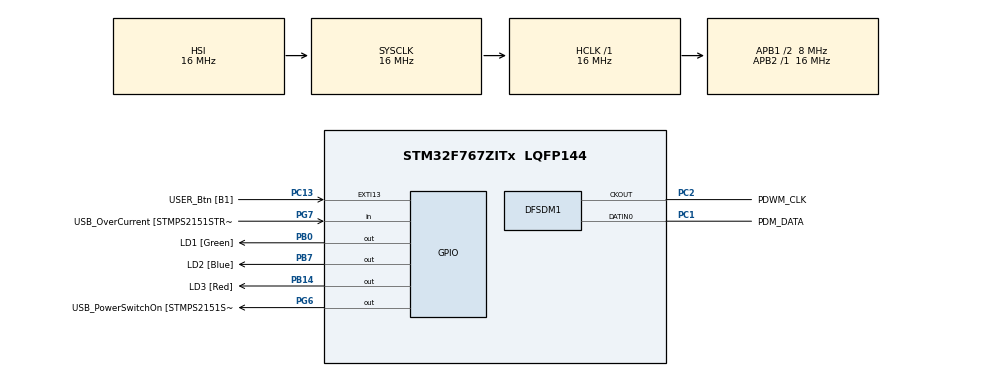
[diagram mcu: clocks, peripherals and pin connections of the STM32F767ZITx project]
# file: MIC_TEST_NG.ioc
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DFSDM1.Divider=8
DFSDM1.DmaMode_reg_FIL0=ENABLE
DFSDM1.FastMode_reg_FIL0=ENABLE
DFSDM1.Filter_regChannel_FIL0=DFSDM_CHANNEL_0
DFSDM1.Filter_regContinuousMode_FIL0=DFSDM_CONTINUOUS_CONV_ON
DFSDM1.Fosr_FIL0=125
DFSDM1.RightBitShift_CH0=0x02
DFSDM1.SincOrder_FIL0=DFSDM_FILTER_SINC3_ORDER
DFSDM1.Type_spi_CH0=DFSDM_CHANNEL_SPI_FALLING
Dma.DFSDM1_FLT0.0.Direction=DMA_PERIPH_TO_MEMORY
Dma.DFSDM1_FLT0.0.FIFOMode=DMA_FIFOMODE_DISABLE
Dma.DFSDM1_FLT0.0.Instance=DMA2_Stream0
Dma.DFSDM1_FLT0.0.MemDataAlignment=DMA_MDATAALIGN_WORD
Dma.DFSDM1_FLT0.0.MemInc=DMA_MINC_ENABLE
Dma.DFSDM1_FLT0.0.Mode=DMA_CIRCULAR
Dma.DFSDM1_FLT0.0.PeriphDataAlignment=DMA_PDATAALIGN_WORD
Dma.DFSDM1_FLT0.0.PeriphInc=DMA_PINC_DISABLE
Dma.DFSDM1_FLT0.0.Priority=DMA_PRIORITY_HIGH
Dma.Request0=DFSDM1_FLT0
Mcu.Family=STM32F7
Mcu.Name=STM32F767ZITx
Mcu.Package=LQFP144
NVIC.DMA2_Stream0_IRQn=true\:0\:0\:false\:false\:true\:false\:true\:true
NVIC.EXTI15_10_IRQn=true\:0\:0\:false\:false\:true\:true\:true\:true
NVIC.PriorityGroup=NVIC_PRIORITYGROUP_4
PA1.GPIO_Label=RMII_REF_CLK [LAN8742A-CZ-TR_REFCLK0]
PA1.Signal=ETH_REF_CLK
PA10.GPIO_Label=USB_ID
PA10.Signal=USB_OTG_FS_ID
PA11.GPIO_Label=USB_DM
PA11.Signal=USB_OTG_FS_DM
PA12.GPIO_Label=USB_DP
PA12.Signal=USB_OTG_FS_DP
PA13.GPIO_Label=TMS
PA13.Signal=SYS_JTMS-SWDIO
PA14.GPIO_Label=TCK
PA14.Signal=SYS_JTCK-SWCLK
PA2.GPIO_Label=RMII_MDIO [LAN8742A-CZ-TR_MDIO]
PA2.Signal=ETH_MDIO
PA7.GPIO_Label=RMII_CRS_DV [LAN8742A-CZ-TR_CRS_DV]
PA7.Signal=ETH_CRS_DV
PA8.GPIO_Label=USB_SOF [TP1]
PA8.Signal=USB_OTG_FS_SOF
PA9.GPIO_Label=USB_VBUS
PA9.Signal=USB_OTG_FS_VBUS
PB0.GPIO_Label=LD1 [Green]
PB0.Signal=GPIO_Output
PB13.GPIO_Label=RMII_TXD1 [LAN8742A-CZ-TR_TXD1]
PB13.Signal=ETH_TXD1
PB14.GPIO_Label=LD3 [Red]
PB14.Signal=GPIO_Output
PB3.GPIO_Label=SW0
PB3.Signal=SYS_JTDO-SWO
PB7.GPIO_Label=LD2 [Blue]
PB7.Signal=GPIO_Output
PC1.GPIO_Label=PDM_DATA
PC1.Signal=S_DATAIN0DFSDM1
PC13.GPIO_Label=USER_Btn [B1]
PC13.Signal=GPXTI13
PC14/OSC32_IN.Signal=RCC_OSC32_IN
PC15/OSC32_OUT.Signal=RCC_OSC32_OUT
PC2.GPIO_Label=PDWM_CLK
PC2.GPIO_Speed=GPIO_SPEED_FREQ_VERY_HIGH
PC2.Signal=S_CKOUTDFSDM1
PC4.GPIO_Label=RMII_RXD0 [LAN8742A-CZ-TR_RXD0]
PC4.Signal=ETH_RXD0
PC5.GPIO_Label=RMII_RXD1 [LAN8742A-CZ-TR_RXD1]
PC5.Signal=ETH_RXD1
PD8.GPIO_Label=STLK_RX [STM32F103CBT6_PA3]
PD8.Signal=USART3_TX
PD9.GPIO_Label=STLK_TX [STM32F103CBT6_PA2]
PD9.Signal=USART3_RX
PG11.GPIO_Label=RMII_TX_EN [LAN8742A-CZ-TR_TXEN]
PG11.Signal=ETH_TX_EN
PG13.GPIO_Label=RMII_TXD0 [LAN8742A-CZ-TR_TXD0]
PG13.Signal=ETH_TXD0
PG6.GPIO_Label=USB_PowerSwitchOn [STMPS2151STR_EN]
PG6.Signal=GPIO_Output
PG7.GPIO_Label=USB_OverCurrent [STMPS2151STR_FAULT]
PG7.Signal=GPIO_Input
PH0/OSC_IN.GPIO_Label=MCO [STM32F103CBT6_PA8]
PH0/OSC_IN.Mode=HSE-External-Oscillator
PH0/OSC_IN.Signal=RCC_OSC_IN
PH1/OSC_OUT.Mode=HSE-External-Oscillator
PH1/OSC_OUT.Signal=RCC_OSC_OUT
ProjectManager.HeapSize=0x200
ProjectManager.StackSize=0x400
ProjectManager.TargetToolchain=STM32CubeIDE
RCC.48MHZClocksFreq_Value=24000000
RCC.AHBFreq_Value=16000000
RCC.APB1CLKDivider=RCC_HCLK_DIV2
RCC.APB1Freq_Value=8000000
RCC.APB1TimFreq_Value=16000000
RCC.APB2Freq_Value=16000000
RCC.APB2TimFreq_Value=16000000
RCC.CortexFreq_Value=16000000
RCC.HCLKFreq_Value=16000000
RCC.HSE_VALUE=8000000
RCC.HSI_VALUE=16000000
RCC.LSE_VALUE=32768
RCC.PLLM=4
RCC.PLLMUL=RCC_PLL_MUL9
RCC.PLLN=96
RCC.PLLQ=4
RCC.PLLSourceVirtual=RCC_PLLSOURCE_HSE
RCC.PRESCALERUSB=RCC_USBCLKSOURCE_PLL_DIV1_5
RCC.SYSCLKFreq_VALUE=16000000
RCC.SYSCLKSourceVirtual=RCC_SYSCLKSOURCE_PLLCLK
RCC.USBFreq_Value=48000000
RCC.VCOOutputFreq_Value=192000000
SH.S_CKOUTDFSDM1.0=DFSDM1_CKOUT,PDM_SPI_input_from_ch0_and_internal_clock
SH.S_CKOUTDFSDM1.1=DFSDM1_CKOUT,CKOUT
SH.S_DATAIN0DFSDM1.0=DFSDM1_DATIN0,PDM_SPI_input_from_ch0_and_internal_clock
board=NUCLEO-F767ZI

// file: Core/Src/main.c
/* USER CODE BEGIN Header */
/**
  ******************************************************************************
  * @file               : main.c
  * @brief              : Main program body
  ******************************************************************************
  * @attention
  *
  * Copyright (c) 2025 STMicroelectronics.
  * All rights reserved.
  *
  * This software is licensed under terms that can be found in the LICENSE file
  * in the root directory of this software component.
  * If no LICENSE file comes with this software, it is provided AS-IS.
  *
  ******************************************************************************
  */
/* USER CODE END Header */
#include "main.h"

/* USER CODE BEGIN Includes */
// #include "usbd_cdc_if.h" // USB CDCを廃止
#include <stdio.h>
/* USER CODE END Includes */

/* USER CODE BEGIN PTD */
// SWState_t は直接フラグで管理するため、必須ではなくなりました。
/* USER CODE END PTD */

/* USER CODE BEGIN PD */
#define AUDIO_SAMPLING_FREQUENCY 16000
#define AUDIO_BUFFER_SIZE (AUDIO_SAMPLING_FREQUENCY * 1) // 1秒分のバッファサイズ
#define SOUND_AVOID_DELAY_MS 150
#define PRINT_DATA_COUNT 8000 // 表示する先頭データの数
#define PRINT_DATA_OFFSET 0 // 表示する先頭データ
/* USER CODE END PD */

DFSDM_Filter_HandleTypeDef hdfsdm1_filter0;
DFSDM_Channel_HandleTypeDef hdfsdm1_channel0;
DMA_HandleTypeDef hdma_dfsdm1_flt0;

/* USER CODE BEGIN PV */
int cnt_it; // デバッグ用カウンタ
volatile uint32_t last_interrupt_time = 0; // 最後に割り込みが発生した時刻
const uint32_t debounce_delay = 300;      // ディバウンス時間 (ms)
int32_t audio_buffer[AUDIO_BUFFER_SIZE]; // オーディオデータバッファ

// SW押下によるDMA開始要求フラグ
volatile uint8_t transmit_request = 0;
// DMA完了によるデータ表示要求フラグ
volatile uint8_t data_ready_to_print = 0;

// DFSDM DMA操作のステータスを保持する変数
HAL_StatusTypeDef dfsm_start_dma_status;
HAL_StatusTypeDef dfsm_stop_dma_status;
/* USER CODE END PV */

void SystemClock_Config(void);
static void MX_GPIO_Init(void);
static void MX_DMA_Init(void);
static void MX_DFSDM1_Init(void);

int main(void)
{

  /* MCU Configuration--------------------------------------------------------*/

  /* Reset of all peripherals, Initializes the Flash interface and the Systick. */
  HAL_Init();

  /* Configure the system clock */
  SystemClock_Config();

  /* Initialize all configured peripherals */
  MX_GPIO_Init();
  MX_DMA_Init();
  MX_DFSDM1_Init();
  /* USER CODE BEGIN 2 */
//  // DFSDM+DMAはここでは開始しない。SW押下時に開始する。
//  printf("System Initialized. Waiting for button press...\r\n");
  // MX_USB_DEVICE_Init(); // USB CDCを廃止
//  printf("System Initialized. Performing initial DFSDM DMA start test...\r\n");
//  dfsm_start_dma_status = HAL_DFSDM_FilterRegularStart_DMA(&hdfsdm1_filter0, audio_buffer, AUDIO_BUFFER_SIZE);
//  printf("Initial HAL_DFSDM_FilterRegularStart_DMA status: %d\r\n", dfsm_start_dma_status);
//  if (dfsm_start_dma_status != HAL_OK) {
//      printf("Initial DFSDM DMA Start Error!\r\n");
//      // Error_Handler(); // ここではエラーハンドラを呼ばずに継続させる
//  } else {
//      printf("Initial DFSDM DMA started successfully. Stopping DMA...\r\n");
//      HAL_DFSDM_FilterRegularStop_DMA(&hdfsdm1_filter0); // テストなので止めておく
//  }
  printf("Waiting for button press...\r\n");
  /* USER CODE END 2 */

  /* Infinite loop */
  while (1)
  {

    /* USER CODE BEGIN 3 */
    // SW押下によるDMA開始要求をチェック
    if (transmit_request) {
      transmit_request = 0; // フラグをクリア
      HAL_Delay(SOUND_AVOID_DELAY_MS); // スイッチ音回避のための遅延

      printf("Button pressed. Re-initializing peripherals and starting DFSDM DMA...\r\n");

      // DFSDMとDMAをDeInit
      // DFSDM Filter DeInit (これにより関連するMSP DeInitが呼ばれ、DMA DeInitも行われるはず)
      if (HAL_DFSDM_FilterDeInit(&hdfsdm1_filter0) != HAL_OK) {
        printf("DFSDM Filter DeInit Error!\r\n");
        Error_Handler();
      }
      //念のためDMAストリームもDeInit (DFSDMのMSP DeInitでカバーされていれば不要な場合もある)
      //hdfsdm1_filter0.hdmaReg は HAL_DFSDM_FilterInit 時にリンクされるDMAハンドル
      //DeInit前にこのハンドルが有効であることを確認
      if (hdfsdm1_filter0.hdmaReg != NULL && HAL_DMA_DeInit(hdfsdm1_filter0.hdmaReg) != HAL_OK) {
          printf("DMA DeInit Error!\r\n");
          // Error_Handler(); // DMA DeInitエラーは必ずしも致命的ではない場合もある
      }
      // ★★★ チャンネルのDeInitを追加 ★★★
      if (HAL_DFSDM_ChannelDeInit(&hdfsdm1_channel0) != HAL_OK) {
        printf("DFSDM Channel DeInit Error!\r\n");
        Error_Handler();
      }
      // ★★★-------------------------★★★

      // DFSDMとDMAを再初期化
      // MX_DMA_Init() はDMAコントローラのクロックやIRQを再設定します。
      // DMAハンドル(hdma_dfsdm1_flt0)の再設定はHAL_DFSDM_FilterMspInitで行われます。
      MX_DMA_Init();

      hdma_dfsdm1_flt0.Instance = DMA2_Stream0; // 念のためインスタンスも再設定
      hdma_dfsdm1_flt0.Init.Mode = DMA_NORMAL;  // DMAモードをノーマルに設定

      // MX_DFSDM1_Init() はDFSDMのレジスタを再設定し、HAL_DFSDM_FilterMspInitを呼び出して
      // GPIOやDMAの再設定を行います。
      MX_DFSDM1_Init();

      // DFSDM+DMA をノーマルモードで開始
      // audio_bufferにAUDIO_BUFFER_SIZE分のデータを格納
      dfsm_start_dma_status = HAL_DFSDM_FilterRegularStart_DMA(&hdfsdm1_filter0, audio_buffer, AUDIO_BUFFER_SIZE);
      printf("HAL_DFSDM_FilterRegularStart_DMA status: %d (0=OK, 1=ERROR, 2=BUSY, 3=TIMEOUT)\r\n", dfsm_start_dma_status);

      if (dfsm_start_dma_status != HAL_OK)
      {
        printf("DFSDM DMA Start Error! Status: %d\r\n", dfsm_start_dma_status);
        // Error_Handler(); // エラー内容に応じて処理
      } else {
        printf("DFSDM DMA started. Acquiring audio data...\r\n");
      }
    }

    // DMA完了によるデータ表示要求をチェック
    if (data_ready_to_print) {
      data_ready_to_print = 0; // フラグをクリア
      dfsm_stop_dma_status = HAL_DFSDM_FilterRegularStop_DMA(&hdfsdm1_filter0);

      printf("DFSDM DMA Stop status from callback: %d (0=OK, 1=ERROR, 2=BUSY, 3=TIMEOUT)\r\n", dfsm_stop_dma_status);
      if (dfsm_stop_dma_status != HAL_OK && dfsm_stop_dma_status != HAL_BUSY) { // BUSYはDMAが既に止まっている場合など
          printf("DFSDM DMA Stop Error occurred in callback! Status: %d\r\n", dfsm_stop_dma_status);
      }

      printf("Audio data acquisition complete. First %d samples:\r\n", PRINT_DATA_COUNT);
      for (int i = PRINT_DATA_OFFSET; i < PRINT_DATA_OFFSET+PRINT_DATA_COUNT && i < AUDIO_BUFFER_SIZE; i++) {
        printf("Sample %2d: %ld\r\n", i, audio_buffer[i]);
      }
      printf("\nData printing complete. Waiting for next button press...\r\n");
    }

  }
  /* USER CODE END 3 */
}

void SystemClock_Config(void)
{
  RCC_OscInitTypeDef RCC_OscInitStruct = {0};
  RCC_ClkInitTypeDef RCC_ClkInitStruct = {0};

  /** Configure the main internal regulator output voltage
  */
  __HAL_RCC_PWR_CLK_ENABLE();
  __HAL_PWR_VOLTAGESCALING_CONFIG(PWR_REGULATOR_VOLTAGE_SCALE3);

  /** Initializes the RCC Oscillators according to the specified parameters
  * in the RCC_OscInitTypeDef structure.
  */
  RCC_OscInitStruct.OscillatorType = RCC_OSCILLATORTYPE_HSI;
  RCC_OscInitStruct.HSIState = RCC_HSI_ON;
  RCC_OscInitStruct.HSICalibrationValue = RCC_HSICALIBRATION_DEFAULT;
  RCC_OscInitStruct.PLL.PLLState = RCC_PLL_NONE;
  if (HAL_RCC_OscConfig(&RCC_OscInitStruct) != HAL_OK)
  {
    Error_Handler();
  }

  /** Initializes the CPU, AHB and APB buses clocks
  */
  RCC_ClkInitStruct.ClockType = RCC_CLOCKTYPE_HCLK|RCC_CLOCKTYPE_SYSCLK
                              |RCC_CLOCKTYPE_PCLK1|RCC_CLOCKTYPE_PCLK2;
  RCC_ClkInitStruct.SYSCLKSource = RCC_SYSCLKSOURCE_HSI;
  RCC_ClkInitStruct.AHBCLKDivider = RCC_SYSCLK_DIV1;
  RCC_ClkInitStruct.APB1CLKDivider = RCC_HCLK_DIV2;
  RCC_ClkInitStruct.APB2CLKDivider = RCC_HCLK_DIV1;

  if (HAL_RCC_ClockConfig(&RCC_ClkInitStruct, FLASH_LATENCY_0) != HAL_OK)
  {
    Error_Handler();
  }
}

static void MX_DFSDM1_Init(void)
{

  /* USER CODE BEGIN DFSDM1_Init 0 */
  // この関数はDeInit後に再呼び出しされるため、毎回設定が適用される
  /* USER CODE END DFSDM1_Init 0 */

  hdfsdm1_filter0.Instance = DFSDM1_Filter0;
  hdfsdm1_filter0.Init.RegularParam.Trigger = DFSDM_FILTER_SW_TRIGGER;
  hdfsdm1_filter0.Init.RegularParam.FastMode = ENABLE;
  hdfsdm1_filter0.Init.RegularParam.DmaMode = ENABLE;
  hdfsdm1_filter0.Init.FilterParam.SincOrder = DFSDM_FILTER_SINC3_ORDER;
  hdfsdm1_filter0.Init.FilterParam.Oversampling = 125;
  hdfsdm1_filter0.Init.FilterParam.IntOversampling = 1;
  HAL_DFSDM_FilterInit(&hdfsdm1_filter0);
  hdfsdm1_channel0.Instance = DFSDM1_Channel0;
  hdfsdm1_channel0.Init.OutputClock.Activation = ENABLE;
  hdfsdm1_channel0.Init.OutputClock.Selection = DFSDM_CHANNEL_OUTPUT_CLOCK_SYSTEM;
  hdfsdm1_channel0.Init.OutputClock.Divider = 8;
  hdfsdm1_channel0.Init.Input.Multiplexer = DFSDM_CHANNEL_EXTERNAL_INPUTS;
  hdfsdm1_channel0.Init.Input.DataPacking = DFSDM_CHANNEL_STANDARD_MODE;
  hdfsdm1_channel0.Init.Input.Pins = DFSDM_CHANNEL_SAME_CHANNEL_PINS;
  hdfsdm1_channel0.Init.SerialInterface.Type = DFSDM_CHANNEL_SPI_FALLING;
  hdfsdm1_channel0.Init.SerialInterface.SpiClock = DFSDM_CHANNEL_SPI_CLOCK_INTERNAL;
  hdfsdm1_channel0.Init.Awd.FilterOrder = DFSDM_CHANNEL_FASTSINC_ORDER;
  hdfsdm1_channel0.Init.Awd.Oversampling = 1;
  hdfsdm1_channel0.Init.Offset = 0;
  hdfsdm1_channel0.Init.RightBitShift = 0x02;
  if (HAL_DFSDM_ChannelInit(&hdfsdm1_channel0) != HAL_OK)
  {
    Error_Handler();
  }
  HAL_DFSDM_FilterConfigRegChannel(&hdfsdm1_filter0, DFSDM_CHANNEL_0, DFSDM_CONTINUOUS_CONV_ON);
  /* USER CODE BEGIN DFSDM1_Init 2 */
  // HAL_DFSDM_FilterInitの中でMSPInitが呼ばれ、その中でDMAの初期化とリンクが行われる。
  // hdma_dfsdm1_flt0 がこのDFSDMフィルターにリンクされる。
  /* USER CODE END DFSDM1_Init 2 */

}

static void MX_DMA_Init(void)
{

  /* DMA controller clock enable */
  __HAL_RCC_DMA2_CLK_ENABLE();

  /* DMA interrupt init */
  /* DMA2_Stream0_IRQn interrupt configuration */
  HAL_NVIC_SetPriority(DMA2_Stream0_IRQn, 0, 0);
  HAL_NVIC_EnableIRQ(DMA2_Stream0_IRQn);

}

static void MX_GPIO_Init(void)
{
  GPIO_InitTypeDef GPIO_InitStruct = {0};

  /* GPIO Ports Clock Enable */
  __HAL_RCC_GPIOC_CLK_ENABLE();
  __HAL_RCC_GPIOH_CLK_ENABLE();
  __HAL_RCC_GPIOA_CLK_ENABLE();
  __HAL_RCC_GPIOB_CLK_ENABLE();
  __HAL_RCC_GPIOD_CLK_ENABLE();
  __HAL_RCC_GPIOG_CLK_ENABLE();

  /*Configure GPIO pin Output Level */
  HAL_GPIO_WritePin(GPIOB, LD1_Pin|LD3_Pin|LD2_Pin, GPIO_PIN_RESET);

  /*Configure GPIO pin Output Level */
  HAL_GPIO_WritePin(USB_PowerSwitchOn_GPIO_Port, USB_PowerSwitchOn_Pin, GPIO_PIN_RESET);

  /*Configure GPIO pin : USER_Btn_Pin */
  GPIO_InitStruct.Pin = USER_Btn_Pin;
  GPIO_InitStruct.Mode = GPIO_MODE_IT_RISING;
  GPIO_InitStruct.Pull = GPIO_NOPULL;
  HAL_GPIO_Init(USER_Btn_GPIO_Port, &GPIO_InitStruct);

  /*Configure GPIO pins : RMII_REF_CLK_Pin RMII_MDIO_Pin RMII_CRS_DV_Pin */
  GPIO_InitStruct.Pin = RMII_REF_CLK_Pin|RMII_MDIO_Pin|RMII_CRS_DV_Pin;
  GPIO_InitStruct.Mode = GPIO_MODE_AF_PP;
  GPIO_InitStruct.Pull = GPIO_NOPULL;
  GPIO_InitStruct.Speed = GPIO_SPEED_FREQ_VERY_HIGH;
  GPIO_InitStruct.Alternate = GPIO_AF11_ETH;
  HAL_GPIO_Init(GPIOA, &GPIO_InitStruct);

  /*Configure GPIO pins : RMII_RXD0_Pin RMII_RXD1_Pin */
  GPIO_InitStruct.Pin = RMII_RXD0_Pin|RMII_RXD1_Pin;
  GPIO_InitStruct.Mode = GPIO_MODE_AF_PP;
  GPIO_InitStruct.Pull = GPIO_NOPULL;
  GPIO_InitStruct.Speed = GPIO_SPEED_FREQ_VERY_HIGH;
  GPIO_InitStruct.Alternate = GPIO_AF11_ETH;
  HAL_GPIO_Init(GPIOC, &GPIO_InitStruct);

  /*Configure GPIO pins : LD1_Pin LD3_Pin LD2_Pin */
  GPIO_InitStruct.Pin = LD1_Pin|LD3_Pin|LD2_Pin;
  GPIO_InitStruct.Mode = GPIO_MODE_OUTPUT_PP;
  GPIO_InitStruct.Pull = GPIO_NOPULL;
  GPIO_InitStruct.Speed = GPIO_SPEED_FREQ_LOW;
  HAL_GPIO_Init(GPIOB, &GPIO_InitStruct);

  /*Configure GPIO pin : RMII_TXD1_Pin */
  GPIO_InitStruct.Pin = RMII_TXD1_Pin;
  GPIO_InitStruct.Mode = GPIO_MODE_AF_PP;
  GPIO_InitStruct.Pull = GPIO_NOPULL;
  GPIO_InitStruct.Speed = GPIO_SPEED_FREQ_VERY_HIGH;
  GPIO_InitStruct.Alternate = GPIO_AF11_ETH;
  HAL_GPIO_Init(RMII_TXD1_GPIO_Port, &GPIO_InitStruct);

  /*Configure GPIO pins : STLK_RX_Pin STLK_TX_Pin */
  GPIO_InitStruct.Pin = STLK_RX_Pin|STLK_TX_Pin;
  GPIO_InitStruct.Mode = GPIO_MODE_AF_PP;
  GPIO_InitStruct.Pull = GPIO_NOPULL;
  GPIO_InitStruct.Speed = GPIO_SPEED_FREQ_VERY_HIGH;
  GPIO_InitStruct.Alternate = GPIO_AF7_USART3;
  HAL_GPIO_Init(GPIOD, &GPIO_InitStruct);

  /*Configure GPIO pin : USB_PowerSwitchOn_Pin */
  GPIO_InitStruct.Pin = USB_PowerSwitchOn_Pin;
  GPIO_InitStruct.Mode = GPIO_MODE_OUTPUT_PP;
  GPIO_InitStruct.Pull = GPIO_NOPULL;
  GPIO_InitStruct.Speed = GPIO_SPEED_FREQ_LOW;
  HAL_GPIO_Init(USB_PowerSwitchOn_GPIO_Port, &GPIO_InitStruct);

  /*Configure GPIO pin : USB_OverCurrent_Pin */
  GPIO_InitStruct.Pin = USB_OverCurrent_Pin;
  GPIO_InitStruct.Mode = GPIO_MODE_INPUT;
  GPIO_InitStruct.Pull = GPIO_NOPULL;
  HAL_GPIO_Init(USB_OverCurrent_GPIO_Port, &GPIO_InitStruct);

  /*Configure GPIO pins : USB_SOF_Pin USB_ID_Pin USB_DM_Pin USB_DP_Pin */
  GPIO_InitStruct.Pin = USB_SOF_Pin|USB_ID_Pin|USB_DM_Pin|USB_DP_Pin;
  GPIO_InitStruct.Mode = GPIO_MODE_AF_PP;
  GPIO_InitStruct.Pull = GPIO_NOPULL;
  GPIO_InitStruct.Speed = GPIO_SPEED_FREQ_VERY_HIGH;
  GPIO_InitStruct.Alternate = GPIO_AF10_OTG_FS;
  HAL_GPIO_Init(GPIOA, &GPIO_InitStruct);

  /*Configure GPIO pin : USB_VBUS_Pin */
  GPIO_InitStruct.Pin = USB_VBUS_Pin;
  GPIO_InitStruct.Mode = GPIO_MODE_INPUT;
  GPIO_InitStruct.Pull = GPIO_NOPULL;
  HAL_GPIO_Init(USB_VBUS_GPIO_Port, &GPIO_InitStruct);

  /*Configure GPIO pins : RMII_TX_EN_Pin RMII_TXD0_Pin */
  GPIO_InitStruct.Pin = RMII_TX_EN_Pin|RMII_TXD0_Pin;
  GPIO_InitStruct.Mode = GPIO_MODE_AF_PP;
  GPIO_InitStruct.Pull = GPIO_NOPULL;
  GPIO_InitStruct.Speed = GPIO_SPEED_FREQ_VERY_HIGH;
  GPIO_InitStruct.Alternate = GPIO_AF11_ETH;
  HAL_GPIO_Init(GPIOG, &GPIO_InitStruct);

  /* EXTI interrupt init*/
  HAL_NVIC_SetPriority(EXTI15_10_IRQn, 0, 0);
  HAL_NVIC_EnableIRQ(EXTI15_10_IRQn);

}

/* USER CODE BEGIN 4 */

/**
  * @brief EXTI Line Detection Callback
  * @param GPIO_Pin: Specifies the pins connected EXTI line
  * @retval None
  */
void HAL_GPIO_EXTI_Callback(uint16_t GPIO_Pin) {
  if (GPIO_Pin == USER_Btn_Pin) {
    uint32_t current_time = HAL_GetTick();
    if (current_time - last_interrupt_time > debounce_delay) {
      // 前の処理 (DMA開始要求 or データ表示要求) が完了しているか確認
      if (transmit_request == 0 && data_ready_to_print == 0) {
          transmit_request = 1; // DMA開始要求フラグをセット
          last_interrupt_time = current_time;
          cnt_it++; // デバッグ用カウンタ
          HAL_GPIO_TogglePin(GPIOB, LD1_Pin); // ボタン反応表示用LED (緑)
      } else {
          // 前の処理がまだ終わっていない場合は、チャタリングによる連続押下とみなし、
          // フラグは立てずにデバウンス時間のみ更新する
          printf("Button press ignored, previous operation still in progress or finishing.\r\n");
          last_interrupt_time = current_time;
      }
    }
  }
}

/**
  * @brief Regular conversion half DMA transfer complete callback.
  * @note This callback is not typically used in Normal DMA mode for a single buffer.
  * @param hdfsdm_filter : DFSDM filter handle.
  * @retval None
  */
void HAL_DFSDM_FilterRegConvHalfCpltCallback(DFSDM_Filter_HandleTypeDef *hdfsdm_filter)
{
  /* USER CODE BEGIN FilterRegConvHalfCpltCallback */
  // ノーマルモードで単一バッファの場合、このコールバックは通常使用しません。
  if (hdfsdm_filter == &hdfsdm1_filter0) {
    // 何もしない
  }
  /* USER CODE END FilterRegConvHalfCpltCallback */
}

/**
  * @brief Regular conversion complete DMA transfer callback.
  * @param hdfsdm_filter : DFSDM filter handle.
  * @retval None
  */
void HAL_DFSDM_FilterRegConvCpltCallback(DFSDM_Filter_HandleTypeDef *hdfsdm_filter)
{
  printf("!!! HAL_DFSDM_FilterRegConvCpltCallback Entered !!!\r\n"); // ★追加
  HAL_GPIO_TogglePin(GPIOB, LD2_Pin); // ★追加 (LD2が青色LEDの場合など、別のLEDで試す)
  /* USER CODE BEGIN FilterRegConvCpltCallback */
  if (hdfsdm_filter == &hdfsdm1_filter0) {
    // DMA転送が完了したので、DFSDMのDMAを停止する
    // HAL_DFSDM_FilterRegularStop_DMA() はブロッキング関数であることに注意。
    // ノーマルモードなのでDMAは既に停止しているはずだが、状態をクリーンにするために呼び出す。
//    dfsm_stop_dma_status = HAL_DFSDM_FilterRegularStop_DMA(hdfsdm_filter);
    // dfsm_stop_dma_status はグローバル変数に保存し、メインループでその値を表示。

    data_ready_to_print = 1; // メインループでデータを表示するためのフラグをセット

    // 注意: 割り込みハンドラ内での printf のような時間のかかる処理は避けるのが一般的です。
    // ここではフラグを立て、メインループで実際の表示処理を行います。
  }
  /* USER CODE END FilterRegConvCpltCallback */
}

void HAL_DFSDM_FilterErrorCallback(DFSDM_Filter_HandleTypeDef *hdfsdm_filter) {
    if (hdfsdm_filter == &hdfsdm1_filter0) {
        printf("!!! DFSDM Filter Error Callback! ErrorCode: 0x%lX !!!\r\n", (unsigned long)hdfsdm_filter->ErrorCode);
        HAL_GPIO_WritePin(GPIOB, LD3_Pin, GPIO_PIN_SET);
        HAL_DFSDM_FilterRegularStop_DMA(&hdfsdm1_filter0);
    }
}

/**
  * @brief  Retargets the C library printf function to the ITM.
  * @param  file: Not used.
  * @param  ptr: Pointer to characters to output.
  * @param  len: Number of characters to output.
  * @retval The number of characters output.
  */
int _write(int file, char *ptr, int len)
{
  int DataIdx;
  for(DataIdx=0; DataIdx<len; DataIdx++)
  {
    ITM_SendChar(*ptr++);
  }
  return len;
}
/* USER CODE END 4 */

void Error_Handler(void)
{
  /* USER CODE BEGIN Error_Handler_Debug */
  /* User can add his own implementation to report the HAL error return state */
  printf("\r\n!!! System Error: Entered Error_Handler() !!!\r\n");
  __disable_irq(); // 割り込みを無効化
  while (1)
  {
    HAL_GPIO_TogglePin(GPIOB, LD3_Pin); // エラー表示用LED (例: LD3 赤色) を点滅
    HAL_Delay(200); // 点滅間隔
  }
  /* USER CODE END Error_Handler_Debug */
}

#ifdef  USE_FULL_ASSERT
/**
  * @brief  Reports the name of the source file and the source line number
  *         where the assert_param error has occurred.
  * @param  file: pointer to the source file name
  * @param  line: assert_param error line source number
  * @retval None
  */
void assert_failed(uint8_t *file, uint32_t line)
{
  /* USER CODE BEGIN 6 */
  /* User can add his own implementation to report the file name and line number,
     ex: printf("Wrong parameters value: file %s on line %d\r\n", file, line) */
  printf("Wrong parameters value: file %s on line %lu\r\n", file, line);
  /* USER CODE END 6 */
}
#endif /* USE_FULL_ASSERT */
